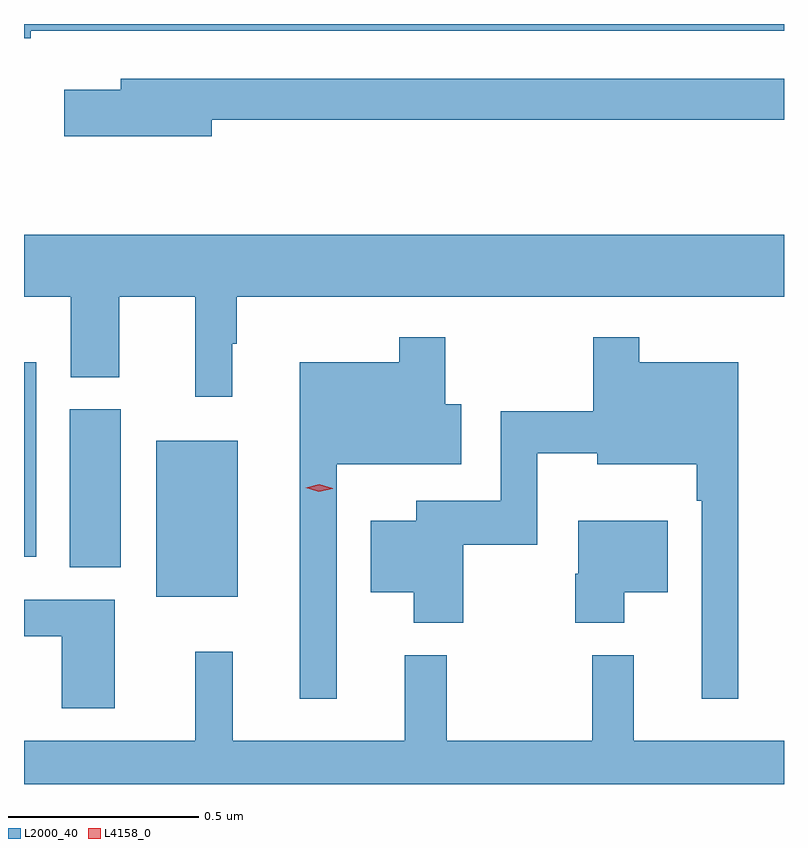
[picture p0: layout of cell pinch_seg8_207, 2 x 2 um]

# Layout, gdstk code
import gdstk
lib = gdstk.Library(unit=1e-6, precision=1e-09)
def R(c, l, rs):  # rectangles x0, y0, x1, y1
    for r in rs: c.add(gdstk.rectangle(r[:2], r[2:], *l))
def P(c, l, *ps):  # polygons
    for p in ps: c.add(gdstk.Polygon(p, *l))
L2000_40 = (2000, 40)
L4158_0 = (4158, 0)

pinch_seg8_207 = lib.new_cell('pinch_seg8_207')
R(pinch_seg8_207, L2000_40, [(622.454,1145.015,622.669,1145.425), (622.226,1145.092,622.36,1145.508), (622.106,1145.12,622.138,1145.632)])
P(pinch_seg8_207, L2000_40, [(622.124,1146.504),(624.106,1146.504),(624.106,1146.522),(622.106,1146.522),(622.106,1146.484),(622.124,1146.484)],
  [(622.6,1146.27),(624.106,1146.27),(624.106,1146.378),(622.361,1146.378),(622.361,1146.349),(622.212,1146.349),(622.212,1146.227),(622.6,1146.227)],
  [(622.654,1145.681),(622.666,1145.681),(622.666,1145.804),(624.106,1145.804),(624.106,1145.968),(622.106,1145.968),(622.106,1145.804),(622.229,1145.804),(622.229,1145.593),(622.357,1145.593),(622.357,1145.804),(622.556,1145.804),(622.556,1145.541),(622.654,1145.541)],
  [(622.929,1145.363),(623.257,1145.363),(623.257,1145.521),(623.215,1145.521),(623.215,1145.698),(623.094,1145.698),(623.094,1145.632),(622.832,1145.632),(622.832,1144.746),(622.929,1144.746)],
  [(623.986,1145.632),(623.725,1145.632),(623.725,1145.698),(623.604,1145.698),(623.604,1145.503),(623.361,1145.503),(623.361,1145.268),(623.138,1145.268),(623.138,1145.215),(623.018,1145.215),(623.018,1145.027),(623.132,1145.027),(623.132,1144.946),(623.262,1144.946),(623.262,1145.152),(623.457,1145.152),(623.457,1145.393),(623.615,1145.393),(623.615,1145.363),(623.877,1145.363),(623.877,1145.267),(623.889,1145.267),(623.889,1144.746),(623.986,1144.746)],
  [(623.686,1145.027),(623.8,1145.027),(623.8,1145.215),(623.564,1145.215),(623.564,1145.075),(623.557,1145.075),(623.557,1144.946),(623.686,1144.946)],
  [(622.345,1145.007),(622.106,1145.007),(622.106,1144.911),(622.205,1144.911),(622.205,1144.722),(622.345,1144.722)],
  [(624.106,1144.636),(623.711,1144.636),(623.711,1144.861),(623.601,1144.861),(623.601,1144.636),(623.218,1144.636),(623.218,1144.861),(623.108,1144.861),(623.108,1144.636),(622.655,1144.636),(622.655,1144.87),(622.556,1144.87),(622.556,1144.636),(622.106,1144.636),(622.106,1144.522),(624.106,1144.522)])
P(pinch_seg8_207, L4158_0, [(622.882,1145.291),(622.848,1145.302),(622.847,1145.302),(622.848,1145.302),(622.883,1145.311),(622.918,1145.3),(622.919,1145.299),(622.918,1145.299)])

lib.write_gds('pinch_seg8_207.gds')
